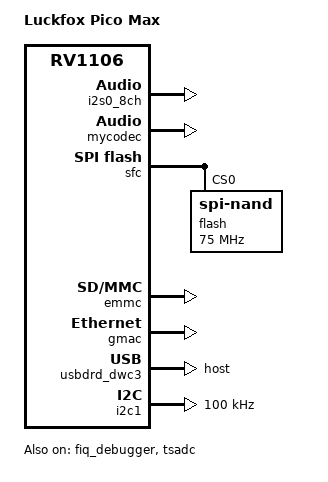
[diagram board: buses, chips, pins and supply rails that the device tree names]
// SPDX-License-Identifier: (GPL-2.0+ OR MIT)
/*
 * Copyright (c) 2022 Rockchip Electronics Co., Ltd.
 */

/dts-v1/;

#include "rv1106.dtsi"
#include "rv1106_pll-ipc.dtsi"
#include "rv1106-pinctrl.dtsi"
/ {
	model = "Luckfox Pico Max";
	compatible = "rockchip,rv1106";

};

/*********I2S*************/
&i2s0_8ch {
	status = "okay";
};

/******EXT_AUDIO_CODEC*****/
&mycodec {
	status = "okay";
};


/**********SPI_FLASH**********/
&sfc {
	status = "okay";
	flash@0 {
		compatible = "spi-nand";
		reg = <0>;
		spi-max-frequency = <75000000>;
		spi-rx-bus-width = <4>;
		spi-tx-bus-width = <1>;
	};
	
};


/*********SERIAL_DEBUG_CONSOLE******/
&fiq_debugger {
	status = "okay";
};


/**********SDMMC**********/
&sdmmc {
	max-frequency = <50000000>;
	no-sdio;
	no-mmc;
	bus-width = <4>;
	cap-mmc-highspeed;
	cap-sd-highspeed;
	disable-wp;
	pinctrl-names = "default";
	pinctrl-0 = <&sdmmc0_clk &sdmmc0_cmd &sdmmc0_det &sdmmc0_bus4>;
	status = "disable";
};

/**********EMMC*************/
&emmc {
        status = "okay";
};

/**********ETH**********/
&gmac {
	status = "okay";
};

/**********USB**********/
&usbdrd_dwc3 {
	status = "okay";
	dr_mode = "host";
	
	/* Настройки для стабильности с длинными кабелями */
/*	snps,tx-ipgap-linecheck-dis-quirk;
	snps,u2exit_lfps_quirk;
	snps,u2ss_inp3_quirk;
	snps,usb3_lmp_capable;
	snps,dis_rxdet_inp3_quirk;
	snps,dis-del-phy-power-chg-quirk; */
	
	/* Консервативные тайминги */
/*	maximum-speed = "high-speed"; */
	
	/* Снижение производительности для стабильности */
/*	snps,host-tx-fifo-resize;
	snps,host-rx-fifo-resize; */
};


/**********I2C**********/
&i2c1 {
 	status = "okay";
 	pinctrl-0 = <&i2c1m1_xfer>;
 	clock-frequency = <100000>;
 };
&i2c3 {
	status = "disable";
	pinctrl-0 = <&i2c3m1_xfer>;
	clock-frequency = <100000>;
};

/**********SPI**********/
&spi0 {
	status = "disable";
	pinctrl-names = "default";
	pinctrl-0 = <&spi0m0_pins>;
	cs-gpios = <&gpio1 RK_PC0 1>;
	// cs-gpios = <&gpio1 26 1>;
	#address-cells = <1>;
	#size-cells = <0>;
	spidev@0 {
		compatible = "rockchip,spidev";
		spi-max-frequency = <50000000>;
		reg = <0>;
	};
};

/******REAL_TIME_CLOCK******/
&rtc {
	status = "disable";
};

/*********TSADC*********/
&tsadc {
	status = "okay";
};
